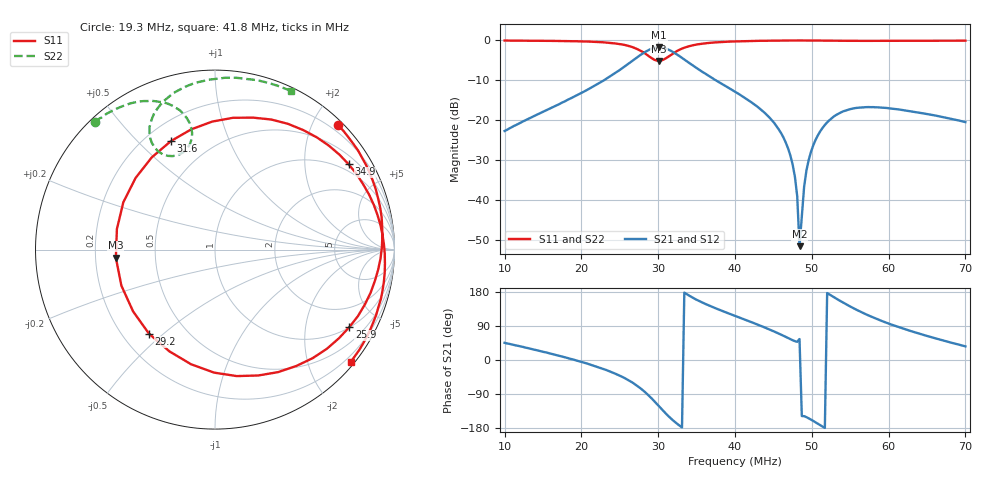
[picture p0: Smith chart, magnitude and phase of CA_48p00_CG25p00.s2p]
#  HZ  S  RI  R  50.00
! Rohde & Schwarz ZVT8 8Ports - Version 4.11 - 1300.0000k08 SN: 100242
! Date: 2026-07-31 15:07:12
! Measurements: S11 S21 S12 S22
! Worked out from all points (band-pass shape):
!   201 points, 10 MHz to 70 MHz, reference 50 ohm
!   highest |S21| = -1.72 dB at 30.1 MHz (marker M1); lowest = -51.6 dB at 48.4 MHz (marker M2)
!   |S21| within 3 dB of the highest: 26.92 MHz to 33.36 MHz (6.44 MHz wide, 21.4 % of centre)
!   lowest |S11| = -5.1 dB at 30.1 MHz (marker M3), VSWR 3.49, Z = 14.4 - j1.88 ohm
!   |S11| at or under -10 dB: nowhere
!   |S22| runs from -5.0 to 0.0 dB; largest |S21 - S12| = 0.0026
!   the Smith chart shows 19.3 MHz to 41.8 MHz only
!   S11 on the Smith chart (normalised r, x): 19.3 MHz: 0.08, +2.40; 25.9 MHz: 1.01, -3.45; 29.2 MHz: 0.31, -0.45; 31.6 MHz: 0.30, +0.63; 34.9 MHz: 0.75, +3.27; 41.8 MHz: 0.08, -2.77
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1e7  -0.4029 0.9113  0.0513 0.052  0.051 0.0518  -0.9199 0.3824
1.93e7  0.6869 0.6935  0.2024 -0.00393  0.2025 -0.00291  -0.6695 0.7105
2.02e7  0.7689 0.5915  0.2233 -0.024  0.2226 -0.0239  -0.632 0.7361
2.35e7  0.9324 0.0694  0.3008 -0.1638  0.3002 -0.1625  -0.4575 0.8179
2.59e7  0.7482 -0.4324  0.3109 -0.3808  0.3114 -0.3807  -0.2862 0.8203
2.8e7  0.1216 -0.7047  0.1228 -0.6766  0.1231 -0.6777  -0.1415 0.7054
2.92e7  -0.3676 -0.4689  -0.1703 -0.772  -0.1722 -0.7704  -0.1387 0.5895
3.01e7  -0.5524 -0.0452  -0.4361 -0.6947  -0.4356 -0.6948  -0.2055 0.5261
3.16e7  -0.2458 0.6046  -0.6659 -0.3351  -0.6645 -0.3353  -0.3371 0.5702
3.31e7  0.3134 0.7248  -0.6026 -0.0214  -0.6018 -0.0212  -0.3586 0.7081
3.49e7  0.7452 0.4748  -0.4293 0.1573  -0.4291 0.1558  -0.2668 0.8431
4e7  0.883 -0.4027  -0.1016 0.2034  -0.1011 0.2035  0.2158 0.9464
4.18e7  0.7559 -0.6267  -0.0383 0.172  -0.0383 0.1716  0.4223 0.8851
4.69e7  0.2061 -0.9753  0.0235 0.0378  0.0233 0.0377  0.9683 0.2202
4.81e7  0.0598 -0.9957  0.00745 0.00828  0.00747 0.00815  0.9909 -0.0739
4.84e7  0.0234 -0.9981  0.00149 0.00216  0.00152 0.00211  0.9816 -0.1541
4.9e7  -0.0505 -0.9972  -0.0124 -0.00768  -0.0123 -0.00771  0.9414 -0.3156
5.02e7  -0.1919 -0.9784  -0.0459 -0.0159  -0.0459 -0.0159  0.7673 -0.6286
5.38e7  -0.5676 -0.8094  -0.1131 0.0533  -0.1128 0.0531  -0.2558 -0.9514
5.68e7  -0.8026 -0.5741  -0.079 0.1219  -0.0787 0.1219  -0.8485 -0.4991
6.01e7  -0.9544 -0.2466  -0.0136 0.1399  -0.0136 0.1396  -0.9831 0.0588
7e7  -0.6468 0.7524  0.0764 0.0555  0.0763 0.0552  -0.5119 0.8499
